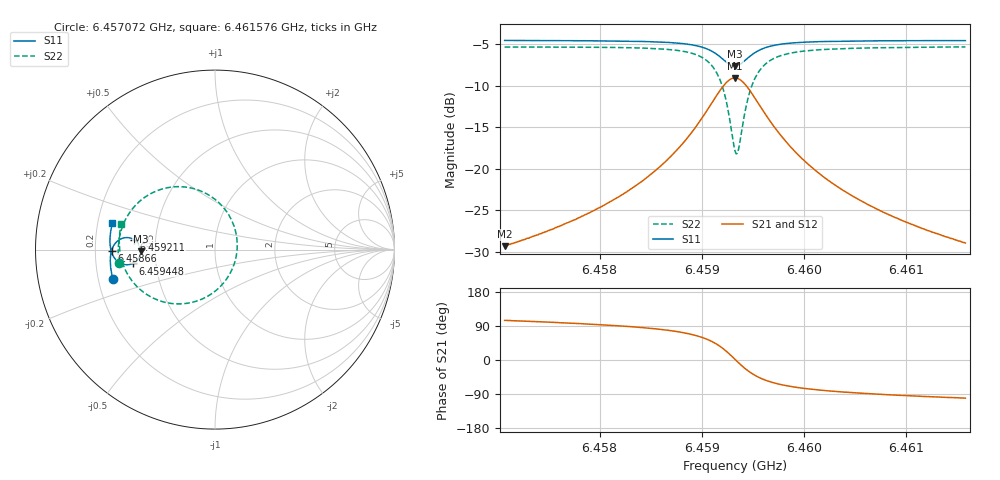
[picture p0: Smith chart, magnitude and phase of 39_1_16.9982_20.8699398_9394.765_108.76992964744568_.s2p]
#  HZ  S  RI  R  50.00
! Rohde & Schwarz Vector Network Analyzer
! Rohde-Schwarz,ZNB20-2Port,1311601062101988,3.16
! Created: UTC 3/20/2024, 10:53:49 PM
! freq[Hz]  re:S11  im:S11  re:S21  im:S21  re:S12  im:S12  re:S22  im:S22
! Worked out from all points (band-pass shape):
!   401 points, 6.457072 GHz to 6.461576 GHz, reference 50 ohm
!   highest |S21| = -9.06 dB at 6.459324 GHz (marker M1); lowest = -29.3 dB at 6.457072 GHz (marker M2)
!   |S21| within 3 dB of the highest: 6.459098 GHz to 6.459548 GHz (450.2 kHz wide, 0.00697 % of centre)
!   lowest |S11| = -7.7 dB at 6.459324 GHz (marker M3), VSWR 2.41, Z = 20.7 - j0.471 ohm
!   |S11| at or under -10 dB: nowhere
!   |S22| runs from -18.2 to -5.3 dB; largest |S21 - S12| = 0.014
!   S11 on the Smith chart (normalised r, x): 6.457072 GHz: 0.26, -0.13; 6.45866 GHz: 0.27, -0.00; 6.459211 GHz: 0.38, +0.05; 6.459448 GHz: 0.37, -0.07; 6.461576 GHz: 0.26, +0.12
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6.4570717e9  -0.5681 -0.1662  -0.00858 0.0332  -0.0069 0.0332  -0.5349 -0.0754
6.4578263e9  -0.5812 -0.0998  -0.00517 0.0516  -0.0026 0.0508  -0.5389 0.0142
6.458243e9  -0.5837 -0.0576  0.0011 0.0713  0.00435 0.0699  -0.5296 0.0815
6.4585808e9  -0.5793 -0.0167  0.0154 0.1007  0.0195 0.0978  -0.5026 0.1595
6.4586596e9  -0.5765 -0.00551  0.0221 0.1106  0.026 0.1073  -0.4903 0.183
6.4588511e9  -0.5627 0.0253  0.0508 0.1427  0.0549 0.1376  -0.4362 0.2538
6.4589862e9  -0.5406 0.0495  0.0949 0.1712  0.098 0.1645  -0.3549 0.3135
6.4591214e9  -0.4957 0.0667  0.1842 0.1874  0.1849 0.18  -0.1917 0.3504
6.4592115e9  -0.4501 0.0556  0.2756 0.1543  0.2759 0.1486  -0.0223 0.2963
6.459279e9  -0.4207 0.0225  0.3365 0.0801  0.3388 0.0749  0.0934 0.1621
6.4593241e9  -0.4141 -0.00941  0.3523 0.0107  0.3561 0.00364  0.124 0.032
6.4593579e9  -0.4183 -0.0336  0.3457 -0.0426  0.3496 -0.052  0.1106 -0.0692
6.4594029e9  -0.4345 -0.0602  0.3157 -0.1032  0.318 -0.1154  0.0498 -0.1833
6.4594479e9  -0.4571 -0.0768  0.2727 -0.1443  0.2716 -0.1579  -0.0379 -0.2582
6.459538e9  -0.5013 -0.0836  0.186 -0.1749  0.1796 -0.1868  -0.21 -0.3024
6.4596056e9  -0.526 -0.0763  0.1369 -0.1725  0.1288 -0.1816  -0.3047 -0.2862
6.4596844e9  -0.5458 -0.063  0.0969 -0.1601  0.0882 -0.1664  -0.3796 -0.2503
6.4598421e9  -0.5677 -0.0353  0.0515 -0.1314  0.0437 -0.134  -0.4603 -0.1766
6.4600786e9  -0.5805 0.000283  0.0222 -0.0991  0.0163 -0.0996  -0.5082 -0.0931
6.460439e9  -0.5853 0.0434  0.00547 -0.0704  0.00141 -0.0699  -0.5301 -0.00904
6.4608331e9  -0.5835 0.0832  -0.00151 -0.0527  -0.00454 -0.052  -0.5334 0.0547
6.4615764e9  -0.5717 0.1493  -0.00672 -0.0352  -0.0084 -0.0342  -0.522 0.1436
